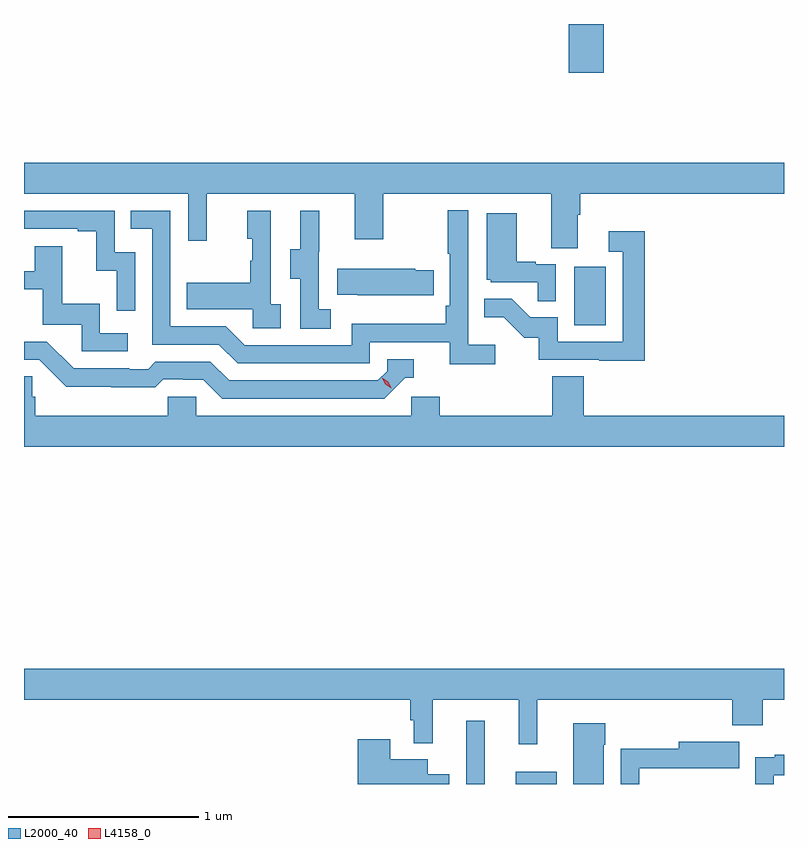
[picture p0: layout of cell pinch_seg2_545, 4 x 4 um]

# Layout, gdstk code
import gdstk
lib = gdstk.Library(unit=1e-6, precision=1e-09)
def R(c, l, rs):  # rectangles x0, y0, x1, y1
    for r in rs: c.add(gdstk.rectangle(r[:2], r[2:], *l))
def P(c, l, *ps):  # polygons
    for p in ps: c.add(gdstk.Polygon(p, *l))
L2000_40 = (2000, 40)
L4158_0 = (4158, 0)

pinch_seg2_545 = lib.new_cell('pinch_seg2_545')
R(pinch_seg2_545, L2000_40, [(1083.873,616.557,1083.97,616.891), (1084.133,616.557,1084.348,616.621), (1084.442,618.972,1084.606,619.279), (1084.412,620.301,1084.595,620.557)])
P(pinch_seg2_545, L2000_40, [(1081.545,619.664),(1082.409,619.664),(1082.409,619.416),(1082.507,619.416),(1082.507,619.664),(1083.287,619.664),(1083.287,619.425),(1083.435,619.425),(1083.435,619.664),(1084.319,619.664),(1084.319,619.378),(1084.459,619.378),(1084.459,619.552),(1084.472,619.552),(1084.472,619.664),(1085.545,619.664),(1085.545,619.828),(1081.545,619.828)],
  [(1084.024,618.868),(1083.882,618.868),(1083.882,619.576),(1083.774,619.576),(1083.774,619.348),(1083.786,619.348),(1083.786,619.075),(1083.766,619.075),(1083.766,618.979),(1083.27,618.979),(1083.27,618.867),(1082.706,618.867),(1082.607,618.966),(1082.316,618.966),(1082.316,619.575),(1082.107,619.575),(1082.107,619.479),(1082.22,619.479),(1082.22,618.87),(1082.57,618.87),(1082.669,618.771),(1083.366,618.771),(1083.366,618.882),(1083.785,618.882),(1083.785,618.766),(1084.024,618.766)],
  [(1082.13,619.356),(1082.022,619.356),(1082.022,619.575),(1081.545,619.575),(1081.545,619.479),(1081.829,619.479),(1081.829,619.467),(1081.925,619.467),(1081.925,619.259),(1082.034,619.259),(1082.034,619.047),(1082.13,619.047)],
  [(1082.896,619.082),(1082.844,619.082),(1082.844,619.573),(1082.72,619.573),(1082.72,619.428),(1082.746,619.428),(1082.746,619.31),(1082.736,619.31),(1082.736,619.195),(1082.401,619.195),(1082.401,619.055),(1082.748,619.055),(1082.748,618.957),(1082.896,618.957)],
  [(1083.16,619.055),(1083.096,619.055),(1083.096,619.359),(1083.098,619.359),(1083.098,619.573),(1082.999,619.573),(1082.999,619.371),(1082.945,619.371),(1082.945,619.216),(1083,619.216),(1083,618.952),(1083.16,618.952)],
  [(1084.344,619.293),(1084.238,619.293),(1084.238,619.306),(1084.138,619.306),(1084.138,619.561),(1083.98,619.561),(1083.98,619.212),(1084.002,619.212),(1084.002,619.197),(1084.249,619.197),(1084.249,619.099),(1084.344,619.099)],
  [(1084.811,619.465),(1084.623,619.465),(1084.623,619.359),(1084.695,619.359),(1084.695,618.885),(1084.353,618.885),(1084.353,619.014),(1084.209,619.014),(1084.111,619.112),(1083.967,619.112),(1083.967,619.013),(1084.071,619.013),(1084.178,618.906),(1084.255,618.906),(1084.255,618.789),(1084.573,618.789),(1084.573,618.784),(1084.811,618.784)],
  [(1082.092,618.93),(1081.944,618.93),(1081.944,619.084),(1081.745,619.084),(1081.745,619.387),(1081.601,619.387),(1081.601,619.257),(1081.545,619.257),(1081.545,619.161),(1081.643,619.161),(1081.643,618.975),(1081.848,618.975),(1081.848,618.834),(1082.092,618.834)],
  [(1083.701,619.26),(1083.603,619.26),(1083.603,619.27),(1083.193,619.27),(1083.193,619.133),(1083.301,619.133),(1083.301,619.13),(1083.701,619.13)],
  [(1083.552,618.696),(1083.595,618.696),(1083.595,618.792),(1083.456,618.792),(1083.456,618.729),(1083.408,618.681),(1082.625,618.681),(1082.526,618.78),(1082.237,618.78),(1082.198,618.741),(1082.099,618.741),(1082.099,618.744),(1081.806,618.744),(1081.665,618.885),(1081.545,618.885),(1081.545,618.789),(1081.626,618.789),(1081.768,618.647),(1082.004,618.647),(1082.004,618.645),(1082.237,618.645),(1082.279,618.687),(1082.382,618.687),(1082.382,618.684),(1082.489,618.684),(1082.588,618.585),(1083.441,618.585)],
  [(1085.545,618.496),(1084.49,618.496),(1084.49,618.704),(1084.325,618.704),(1084.325,618.496),(1083.734,618.496),(1083.734,618.594),(1083.582,618.594),(1083.582,618.496),(1082.451,618.496),(1082.451,618.594),(1082.301,618.594),(1082.301,618.496),(1081.604,618.496),(1081.604,618.594),(1081.589,618.594),(1081.589,618.704),(1081.545,618.704),(1081.545,618.332),(1085.545,618.332)],
  [(1084.247,617),(1085.273,617),(1085.273,616.865),(1085.433,616.865),(1085.433,617),(1085.545,617),(1085.545,617.164),(1081.545,617.164),(1081.545,617),(1083.577,617),(1083.577,616.893),(1083.597,616.893),(1083.597,616.772),(1083.695,616.772),(1083.695,617),(1084.148,617),(1084.148,616.767),(1084.247,616.767)],
  [(1084.597,616.763),(1084.605,616.763),(1084.605,616.876),(1084.436,616.876),(1084.436,616.557),(1084.597,616.557)],
  [(1083.784,616.609),(1083.67,616.609),(1083.67,616.687),(1083.472,616.687),(1083.472,616.792),(1083.302,616.792),(1083.302,616.557),(1083.784,616.557)],
  [(1084.782,616.641),(1085.095,616.641),(1085.095,616.64),(1085.309,616.64),(1085.309,616.78),(1084.991,616.78),(1084.991,616.742),(1084.686,616.742),(1084.686,616.557),(1084.782,616.557)],
  [(1085.49,616.602),(1085.545,616.602),(1085.545,616.711),(1085.497,616.711),(1085.497,616.699),(1085.394,616.699),(1085.394,616.557),(1085.49,616.557)])
P(pinch_seg2_545, L4158_0, [(1083.477,618.641),(1083.447,618.661),(1083.431,618.694),(1083.431,618.694),(1083.431,618.694),(1083.462,618.674),(1083.477,618.642),(1083.477,618.641)])

lib.write_gds('pinch_seg2_545.gds')
